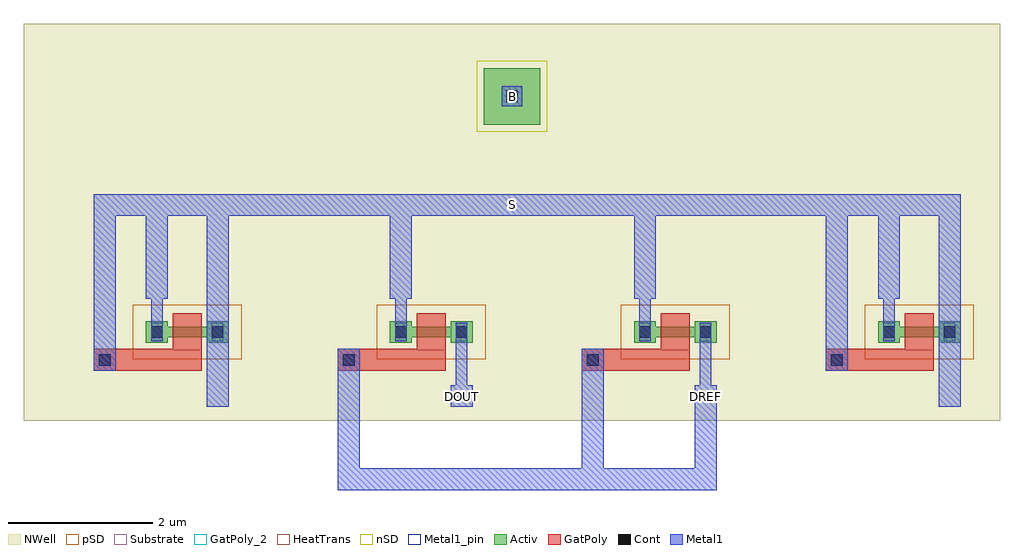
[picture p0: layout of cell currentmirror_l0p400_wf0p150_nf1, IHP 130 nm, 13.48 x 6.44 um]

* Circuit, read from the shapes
.subckt currentmirror_l0p400_wf0p150_nf1 B DOUT DREF S
XM1 S S S B sg13_lv_pmos w=0.15u l=0.4u m=2
XM2 DOUT DREF S B sg13_lv_pmos w=0.15u l=0.4u
XM3 DREF DREF S B sg13_lv_pmos w=0.15u l=0.4u
.ends

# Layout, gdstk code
import gdstk
lib = gdstk.Library(unit=1e-6, precision=1e-09)
def R(c, l, rs):  # rectangles x0, y0, x1, y1
    for r in rs: c.add(gdstk.rectangle(r[:2], r[2:], *l))
def A(c, l, x, y, w, h, nx, ny, dx, dy):  # array of equal rectangles
    R(c, l, [(x+i*dx, y+j*dy, x+i*dx+w, y+j*dy+h) for i in range(nx) for j in range(ny)])
Activ = (1, 0)
GatPoly = (5, 0)
GatPoly_2 = (5, 2)
Cont = (6, 0)
nSD = (7, 0)
Metal1 = (8, 0)
Metal1_pin = (8, 2)
pSD = (14, 0)
NWell = (31, 0)
Substrate = (40, 0)
HeatTrans = (51, 0)

unnamed_16 = lib.new_cell('Unnamed_16')
R(unnamed_16, Activ, [(0,0,0.3,0.3), (0.84,0,1.14,0.3), (0,0.075,1.14,0.225)])
R(unnamed_16, GatPoly, [(0.37,-0.105,0.77,0.405)])
R(unnamed_16, GatPoly_2, [(0.37,-0.105,0.77,0.405)])
R(unnamed_16, Cont, [(0.07,0.07,0.23,0.23), (0.91,0.07,1.07,0.23)])
R(unnamed_16, Metal1, [(0.07,0.02,0.23,0.28), (0.91,0.02,1.07,0.28)])
R(unnamed_16, Metal1_pin, [(0.07,0.02,0.23,0.28), (0.91,0.02,1.07,0.28)])
R(unnamed_16, pSD, [(-0.18,-0.225,1.32,0.525)])
R(unnamed_16, NWell, [(-0.31,-0.31,1.45,0.61)])
R(unnamed_16, Substrate, [(0.84,0,1.14,0.3)])
R(unnamed_16, HeatTrans, [(0.37,-0.105,0.77,0.405)])

pmos_bussed_l0p400_wf0p1 = lib.new_cell('pmos_bussed_l0p400_wf0p150_nf1')
R(pmos_bussed_l0p400_wf0p1, GatPoly, [(-0.72,-0.385,0.77,-0.085)])
R(pmos_bussed_l0p400_wf0p1, Cont, [(-0.65,-0.315,-0.49,-0.155)])
R(pmos_bussed_l0p400_wf0p1, Metal1, [(0.84,-0.885,1.14,-0.585), (0.91,-0.885,1.07,0.02), (-0.72,-0.385,-0.42,-0.085), (0.07,0.28,0.23,0.905), (0,0.605,0.3,0.905)])
pmos_bussed_l0p400_wf0p1.add(gdstk.Reference(unnamed_16, (0,0)))

rectangle_gdsfactorypcom = lib.new_cell('rectangle_gdsfactorypcomponentspshapesprectangle_S1p4_1_8fd930ef')
R(rectangle_gdsfactorypcom, NWell, [(-0.7,-0.7,0.7,0.7)])

c_rectangle_gdsfactorypcom = lib.new_cell('rectangle_gdsfactorypcomponentspshapesprectangle_S0p78__3b728210')
R(c_rectangle_gdsfactorypcom, Activ, [(-0.39,-0.39,0.39,0.39)])

c_rectangle_gdsfactorypcom_ = lib.new_cell('rectangle_gdsfactorypcomponentspshapesprectangle_S0p98__dff61cd1')
R(c_rectangle_gdsfactorypcom_, nSD, [(-0.49,-0.49,0.49,0.49)])

c_rectangle_gdsfactorypcom__ = lib.new_cell('rectangle_gdsfactorypcomponentspshapesprectangle_S0p16__fbf0290e')
R(c_rectangle_gdsfactorypcom__, Cont, [(-0.08,-0.08,0.08,0.08)])

c_rectangle_gdsfactorypcom___ = lib.new_cell('rectangle_gdsfactorypcomponentspshapesprectangle_S0p28__2625054a')
R(c_rectangle_gdsfactorypcom___, Metal1, [(-0.14,-0.14,0.14,0.14)])

ntap1_w0p78_l0p78_r1_c1_ = lib.new_cell('ntap1_W0p78_L0p78_R1_C1_LNNWelldrawing_LAActivdrawing_L_f8bafa10')
ntap1_w0p78_l0p78_r1_c1_.add(gdstk.Reference(rectangle_gdsfactorypcom, (0,0)))
ntap1_w0p78_l0p78_r1_c1_.add(gdstk.Reference(c_rectangle_gdsfactorypcom, (0,0)))
ntap1_w0p78_l0p78_r1_c1_.add(gdstk.Reference(c_rectangle_gdsfactorypcom_, (0,0)))
ntap1_w0p78_l0p78_r1_c1_.add(gdstk.Reference(c_rectangle_gdsfactorypcom__, (0,0)))
ntap1_w0p78_l0p78_r1_c1_.add(gdstk.Reference(c_rectangle_gdsfactorypcom___, (0,0)))

currentmirror_l0p400_wf0 = lib.new_cell('currentmirror_l0p400_wf0p150_nf1')
A(currentmirror_l0p400_wf0, Metal1, -5.055, 0.605, 0.3, 1.45, 4, 1, 3.37, 0)
R(currentmirror_l0p400_wf0, Metal1, [(-2.405,-2.035,-2.105,-0.085), (-2.405,-2.035,0.15,-1.735), (-0.15,-2.035,1.265,-1.735), (-0.15,-2.035,2.825,-1.735), (0.965,-2.035,1.265,-0.085), (2.525,-2.035,2.825,-0.585), (-4.215,-0.885,-3.915,2.055), (5.895,-0.885,6.195,2.055), (-5.775,-0.385,-5.475,2.055), (4.335,-0.385,4.635,2.055), (-5.775,1.755,0.15,2.055), (-5.055,1.755,0.15,2.055), (-4.215,1.755,0.15,2.055), (-1.685,1.755,0.15,2.055), (-0.15,1.755,1.985,2.055), (-0.15,1.755,5.355,2.055), (-0.15,1.755,6.195,2.055), (-0.15,1.755,4.635,2.055)])
R(currentmirror_l0p400_wf0, NWell, [(-6.74,-1.075,6.74,4.405)])
currentmirror_l0p400_wf0.add(gdstk.Reference(pmos_bussed_l0p400_wf0p1, (-1.685,0)))
currentmirror_l0p400_wf0.add(gdstk.Reference(pmos_bussed_l0p400_wf0p1, (1.685,0)))
currentmirror_l0p400_wf0.add(gdstk.Reference(pmos_bussed_l0p400_wf0p1, (-5.055,0)))
currentmirror_l0p400_wf0.add(gdstk.Reference(pmos_bussed_l0p400_wf0p1, (5.055,0)))
currentmirror_l0p400_wf0.add(gdstk.Reference(ntap1_w0p78_l0p78_r1_c1_, (0,3.405)))
currentmirror_l0p400_wf0.add(gdstk.Label('DOUT', (-0.695,-0.735), layer=8, texttype=2))
currentmirror_l0p400_wf0.add(gdstk.Label('DREF', (2.675,-0.735), layer=8, texttype=2))
currentmirror_l0p400_wf0.add(gdstk.Label('S', (0,1.905), layer=8, texttype=2))
currentmirror_l0p400_wf0.add(gdstk.Label('B', (0,3.405), layer=8, texttype=2))

lib.write_gds('currentmirror_l0p400_wf0p150_nf1.gds')
